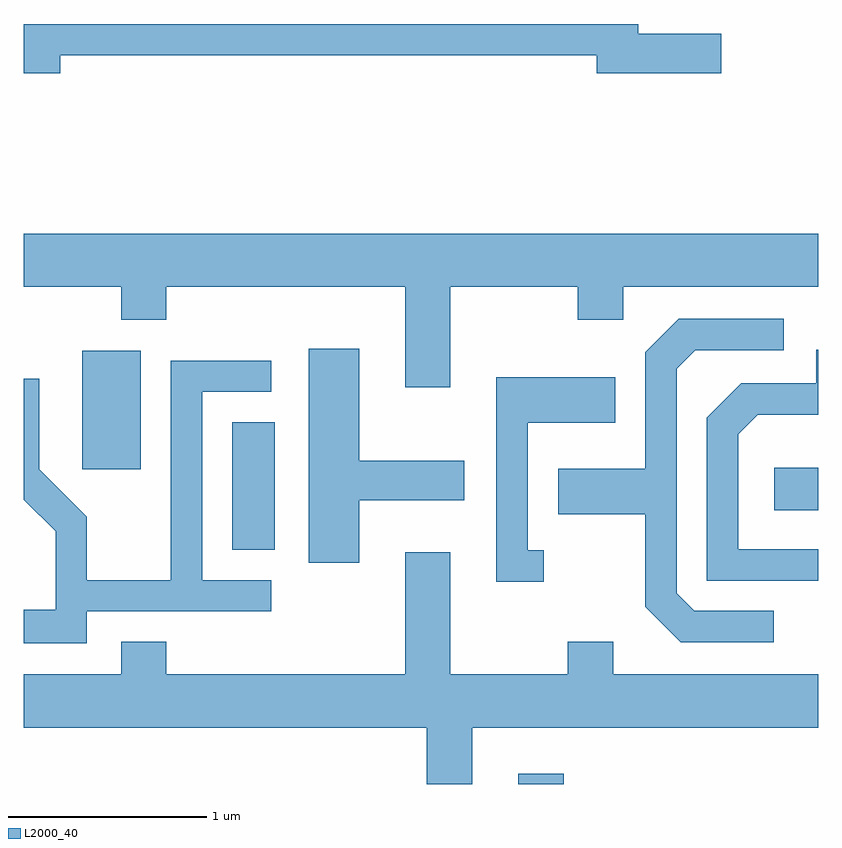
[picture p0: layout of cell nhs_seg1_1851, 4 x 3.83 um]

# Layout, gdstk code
import gdstk
lib = gdstk.Library(unit=1e-6, precision=1e-09)
def R(c, l, rs):  # rectangles x0, y0, x1, y1
    for r in rs: c.add(gdstk.rectangle(r[:2], r[2:], *l))
def P(c, l, *ps):  # polygons
    for p in ps: c.add(gdstk.Polygon(p, *l))
L2000_40 = (2000, 40)

nhs_seg1_1851 = lib.new_cell('nhs_seg1_1851')
R(nhs_seg1_1851, L2000_40, [(244.101,923.712,244.329,923.764), (242.661,924.891,242.874,925.534), (245.391,925.091,245.611,925.304), (241.906,925.296,242.199,925.894)])
P(nhs_seg1_1851, L2000_40, [(241.794,927.381),(244.496,927.381),(244.496,927.291),(245.124,927.291),(245.124,927.489),(244.704,927.489),(244.704,927.539),(241.611,927.539),(241.611,927.291),(241.794,927.291)],
  [(243.759,926.216),(244.401,926.216),(244.401,926.051),(244.629,926.051),(244.629,926.216),(245.611,926.216),(245.611,926.484),(241.611,926.484),(241.611,926.216),(242.101,926.216),(242.101,926.051),(242.329,926.051),(242.329,926.216),(243.531,926.216),(243.531,925.711),(243.759,925.711)],
  [(245.388,924.584),(244.987,924.584),(244.899,924.672),(244.899,925.804),(244.992,925.896),(245.438,925.896),(245.438,926.054),(244.909,926.054),(244.741,925.887),(244.741,925.299),(244.301,925.299),(244.301,925.071),(244.741,925.071),(244.741,924.604),(244.919,924.426),(245.388,924.426)],
  [(243.299,925.141),(243.829,925.141),(243.829,925.339),(243.299,925.339),(243.299,925.904),(243.046,925.904),(243.046,924.826),(243.299,924.826)],
  [(245.611,924.894),(245.209,924.894),(245.209,925.474),(245.307,925.571),(245.611,925.571),(245.611,925.899),(245.601,925.899),(245.601,925.729),(245.224,925.729),(245.051,925.557),(245.051,924.736),(245.611,924.736)],
  [(241.929,924.581),(242.858,924.581),(242.858,924.739),(242.509,924.739),(242.509,925.686),(242.858,925.686),(242.858,925.844),(242.351,925.844),(242.351,924.739),(241.929,924.739),(241.929,925.057),(241.689,925.297),(241.689,925.753),(241.611,925.753),(241.611,925.144),(241.771,924.984),(241.771,924.589),(241.611,924.589),(241.611,924.421),(241.929,924.421)],
  [(244.228,924.889),(244.149,924.889),(244.149,925.531),(244.589,925.531),(244.589,925.759),(243.991,925.759),(243.991,924.731),(244.228,924.731)],
  [(243.869,923.996),(245.611,923.996),(245.611,924.264),(244.579,924.264),(244.579,924.429),(244.351,924.429),(244.351,924.264),(243.759,924.264),(243.759,924.879),(243.531,924.879),(243.531,924.264),(242.329,924.264),(242.329,924.429),(242.101,924.429),(242.101,924.264),(241.611,924.264),(241.611,923.996),(243.641,923.996),(243.641,923.712),(243.869,923.712)])

lib.write_gds('nhs_seg1_1851.gds')
